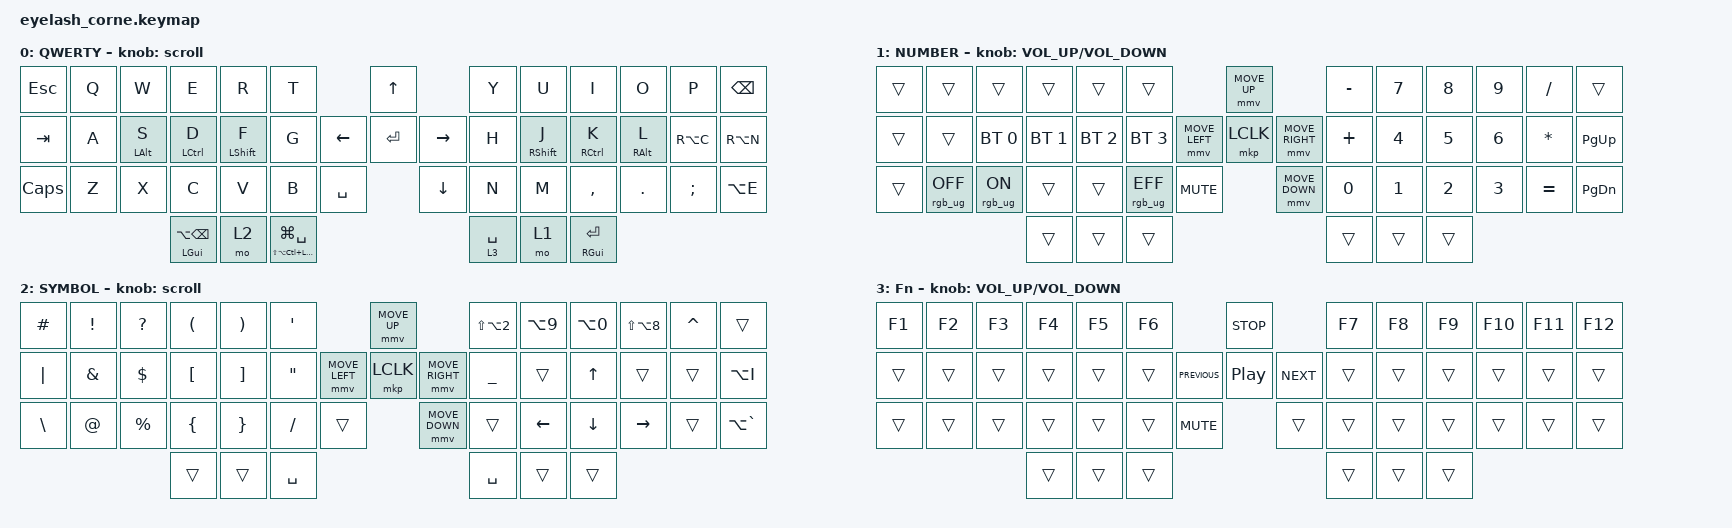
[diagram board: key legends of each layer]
#define ZMK_POINTING_DEFAULT_MOVE_VAL 1200  // 600
#define ZMK_POINTING_DEFAULT_SCRL_VAL 25   // 10

#include <input/processors.dtsi>
#include <zephyr/dt-bindings/input/input-event-codes.h>
#include <behaviors.dtsi>
#include <dt-bindings/zmk/bt.h>
#include <dt-bindings/zmk/keys.h>
#include <dt-bindings/zmk/pointing.h>
#include <dt-bindings/zmk/rgb.h>

&mmv_input_listener { input-processors = <&zip_xy_scaler 2 1>; };

&msc_input_listener { input-processors = <&zip_scroll_scaler 2 1>; };

&msc {
    acceleration-exponent = <1>;      // 0
    time-to-max-speed-ms = <100>;       // 300
    delay-ms = <0>;                   // 0
};

&mmv {
    time-to-max-speed-ms = <500>;
    acceleration-exponent = <1>;
    trigger-period-ms = <16>;
};

&soft_off { hold-time-ms = <2000>; };

/ {
    behaviors {
        hml: home_row_mod_left {
            compatible = "zmk,behavior-hold-tap";
            #binding-cells = <2>;
            flavor = "balanced";
            require-prior-idle-ms = <150>;
            tapping-term-ms = <250>;
            quick-tap-ms = <175>;
            bindings = <&kp>, <&kp>;

            hold-trigger-key-positions = <7 22 36 37 23 8 9 24 38 39 25 10 11 26 40 41 27 12>;
            hold-trigger-on-release;
        };

        hmr: home_row_mod_right {
            compatible = "zmk,behavior-hold-tap";
            #binding-cells = <2>;
            flavor = "balanced";
            require-prior-idle-ms = <150>;
            tapping-term-ms = <250>;
            quick-tap-ms = <175>;
            bindings = <&kp>, <&kp>;

            hold-trigger-key-positions = <0 13 28 29 14 1 2 15 30 31 16 3 4 17 32 33 18 5>;
            hold-trigger-on-release;
        };

        scroll: scroll {
            compatible = "zmk,behavior-sensor-rotate";
            label = "scroll";
            #sensor-binding-cells = <0>;
            bindings = <&msc SCRL_UP>, <&msc SCRL_DOWN>;
        };
    };

    rgb_encoder: rgb_encoder {
        compatible = "zmk,behavior-sensor-rotate";
        #sensor-binding-cells = <0>;
        bindings = <&rgb_ug RGB_BRI>, <&rgb_ug RGB_BRD>;
    };

    combos {
        compatible = "zmk,combos";

        softoff {
            bindings = <&soft_off>;
            key-positions = <1 15 29>;
        };
    };

    keymap {
        compatible = "zmk,keymap";

        default_layer {
            display-name = "QWERTY";
            bindings = <
&kp ESC   &kp Q  &kp W            &kp E                   &kp R              &kp T                                                      &kp UP                &kp Y        &kp U               &kp I                &kp O             &kp P          &kp BACKSPACE
&kp TAB   &kp A  &hml LEFT_ALT S  &hml LCTRL D            &hml LEFT_SHIFT F  &kp G                                            &kp LEFT  &kp ENTER  &kp RIGHT  &kp H        &hmr RIGHT_SHIFT J  &hmr RCTRL K         &hmr RIGHT_ALT L  &kp RA(C)      &kp RA(N)
&kp CAPS  &kp Z  &kp X            &kp C                   &kp V              &kp B                               &kp SPACE              &kp DOWN              &kp N        &kp M               &kp COMMA            &kp DOT           &kp SEMICOLON  &kp LA(E)
                                  &mt LGUI LA(BACKSPACE)  &mo 2              &mt LS(LA(LC(LEFT_GUI))) LG(SPACE)                                               &lt 3 SPACE  &mo 1               &mt RIGHT_GUI ENTER
            >;

            sensor-bindings = <&scroll>;
        };

        number_layer {
            display-name = "NUMBER";
            bindings = <
&trans  &trans           &trans          &trans        &trans        &trans                                         &mmv MOVE_UP                     &kp MINUS  &kp N7        &kp N8        &kp N9        &kp SLASH     &trans
&trans  &trans           &bt BT_SEL 0    &bt BT_SEL 1  &bt BT_SEL 2  &bt BT_SEL 3                   &mmv MOVE_LEFT  &mkp LCLK       &mmv MOVE_RIGHT  &kp PLUS   &kp NUMBER_4  &kp N5        &kp NUMBER_6  &kp ASTERISK  &kp PG_UP
&trans  &rgb_ug RGB_OFF  &rgb_ug RGB_ON  &trans        &trans        &rgb_ug RGB_EFF  &kp C_MUTE                    &mmv MOVE_DOWN                   &kp N0     &kp NUMBER_1  &kp NUMBER_2  &kp NUMBER_3  &kp EQUAL     &kp PG_DN
                                         &trans        &trans        &trans                                                                          &trans     &trans        &trans
            >;

            sensor-bindings = <&inc_dec_kp C_VOLUME_UP C_VOLUME_DOWN>;
        };

        symbol_layer {
            display-name = "SYMBOL";
            bindings = <
&kp HASH       &kp EXCL       &kp QUESTION  &kp LEFT_PARENTHESIS  &kp RIGHT_PARENTHESIS  &kp SQT                                      &mmv MOVE_UP                     &kp LS(LA(NUMBER_2))  &kp LA(N9)  &kp LA(N0)  &kp LS(LA(N8))  &kp CARET  &trans
&kp PIPE       &kp AMPERSAND  &kp DOLLAR    &kp LEFT_BRACKET      &kp RIGHT_BRACKET      &kp DOUBLE_QUOTES            &mmv MOVE_LEFT  &mkp LCLK       &mmv MOVE_RIGHT  &kp UNDER             &trans      &kp UP      &trans          &trans     &kp LA(I)
&kp BACKSLASH  &kp AT_SIGN    &kp PERCENT   &kp LEFT_BRACE        &kp RIGHT_BRACE        &kp SLASH          &trans                    &mmv MOVE_DOWN                   &trans                &kp LEFT    &kp DOWN    &kp RIGHT       &trans     &kp LA(GRAVE)
                                            &trans                &trans                 &kp SPACE                                                                     &kp SPACE             &trans      &trans
            >;

            sensor-bindings = <&scroll>;
        };

        extra_layer {
            display-name = "Fn";
            bindings = <
&kp F1  &kp F2  &kp F3  &kp F4  &kp F5  &kp F6                                &kp C_STOP                    &kp F7  &kp F8  &kp F9  &kp F10  &kp F11  &kp F12
&trans  &trans  &trans  &trans  &trans  &trans                &kp C_PREVIOUS  &kp C_PLAY_PAUSE  &kp C_NEXT  &trans  &trans  &trans  &trans   &trans   &trans
&trans  &trans  &trans  &trans  &trans  &trans  &kp C_MUTE                    &trans                        &trans  &trans  &trans  &trans   &trans   &trans
                        &trans  &trans  &trans                                                              &trans  &trans  &trans
            >;

            sensor-bindings = <&inc_dec_kp C_VOLUME_UP C_VOLUME_DOWN>;
        };
    };
};
